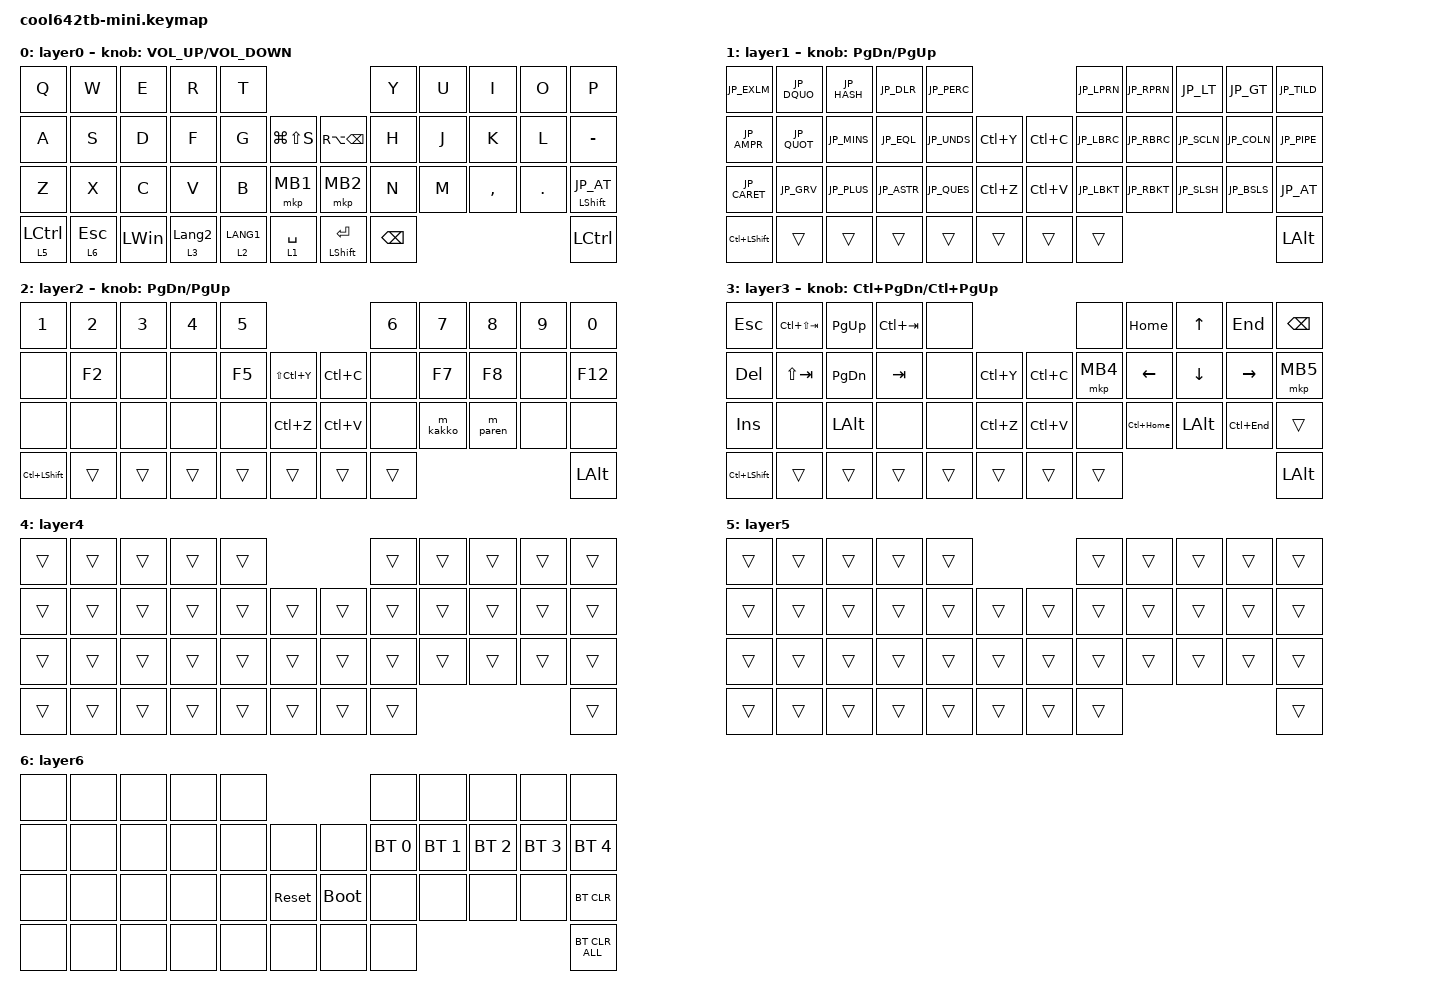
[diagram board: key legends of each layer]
#include <behaviors.dtsi>
#include <dt-bindings/zmk/bt.h>
#include <dt-bindings/zmk/keys.h>
#include <dt-bindings/zmk/pointing.h>
#include "locale/keys_ja.h"

#define MOUSE 4
#define SCROLL 5
#define NUM 6
#define ZMK_POINTING_DEFAULT_SCRL_VAL 80

&mt {
    flavor = "balanced";
    quick-tap-ms = <0>;
};

/ {
    combos {
        compatible = "zmk,combos";

        shift_tab {
            bindings = <&kp LANG2>;
            key-positions = <12 13>;
            layers = <0>;
        };

        lang {
            bindings = <&kp LANG1>;
            key-positions = <18 19>;
            layers = <0>;
        };

        printscreen {
            bindings = <&kp LG(LS(S))>;
            key-positions = <8 9>;
            layers = <0>;
        };

        ctrl+win {
            bindings = <&kp LG(LCTRL)>;
            key-positions = <20 21>;
        };

        ctrl+win+space {
            bindings = <&kp LG(LC(SPACE))>;
            key-positions = <33 32>;
        };
    };

    macros {
        m_kakko: m_kakko {
            compatible = "zmk,behavior-macro";
            #binding-cells = <0>;
            wait-ms = <30>;
            tap-ms = <30>;
            bindings = <&kp JP_LBKT &kp JP_RBKT &kp LEFT>;
        };

        m_paren: m_paren {
            compatible = "zmk,behavior-macro";
            #binding-cells = <0>;
            wait-ms = <30>;
            tap-ms = <30>;
            bindings = <&kp JP_LPRN &kp JP_RPRN &kp LEFT>;
        };
    };

    behaviors {
        encoder_msc_down_up: encoder_msc_down_up {
            compatible = "zmk,behavior-sensor-rotate";
            label = "ENCODER_MSC_DOWN_UP";
            #sensor-binding-cells = <0>;
            bindings = <&msc SCRL_UP>, <&msc SCRL_DOWN>;

            tap-ms = <20>;
        };
    };

    keymap {
        compatible = "zmk,keymap";

        layer0 {
            bindings = <
&kp Q               &kp W         &kp E         &kp R             &kp T                                              &kp Y          &kp U  &kp I      &kp O    &kp P
&kp A               &kp S         &kp D         &kp F             &kp G        &kp LG(LS(S))      &kp RA(BACKSPACE)  &kp H          &kp J  &kp K      &kp L    &kp MINUS
&kp Z               &kp X         &kp C         &kp V             &kp B        &mkp MB1           &mkp MB2           &kp N          &kp M  &kp COMMA  &kp DOT  &mt LEFT_SHIFT JP_AT
&lt 5 LEFT_CONTROL  &lt 6 ESCAPE  &kp LEFT_WIN  &lt 3 LANGUAGE_2  &lt 2 LANG1  &lt 1 SPACE        &mt LSHIFT ENTER   &kp BACKSPACE                             &kp LEFT_CONTROL
            >;

            sensor-bindings = <&inc_dec_kp C_VOLUME_UP C_VOLUME_DOWN>;
        };

        layer1 {
            bindings = <
&kp JP_EXLM         &kp JP_DQUO  &kp JP_HASH  &kp JP_DLR   &kp JP_PERC                            &kp JP_LPRN  &kp JP_RPRN  &kp JP_LT    &kp JP_GT    &kp JP_TILD
&kp JP_AMPR         &kp JP_QUOT  &kp JP_MINS  &kp JP_EQL   &kp JP_UNDS  &kp LC(Y)      &kp LC(C)  &kp JP_LBRC  &kp JP_RBRC  &kp JP_SCLN  &kp JP_COLN  &kp JP_PIPE
&kp JP_CARET        &kp JP_GRV   &kp JP_PLUS  &kp JP_ASTR  &kp JP_QUES  &kp LC(Z)      &kp LC(V)  &kp JP_LBKT  &kp JP_RBKT  &kp JP_SLSH  &kp JP_BSLS  &kp JP_AT
&kp LC(LEFT_SHIFT)  &trans       &trans       &trans       &trans       &trans         &trans     &trans                                              &kp LEFT_ALT
            >;

            sensor-bindings = <&inc_dec_kp PG_DN PAGE_UP>;
        };

        layer2 {
            bindings = <
&kp NUMBER_1        &kp NUMBER_2  &kp NUMBER_3  &kp NUMBER_4  &kp N5                                &kp NUMBER_6  &kp N7    &kp N8    &kp N9  &kp N0
&none               &kp F2        &none         &none         &kp F5  &kp LS(LC(Y))      &kp LC(C)  &none         &kp F7    &kp F8    &none   &kp F12
&none               &none         &none         &none         &none   &kp LC(Z)          &kp LC(V)  &none         &m_kakko  &m_paren  &none   &none
&kp LC(LEFT_SHIFT)  &trans        &trans        &trans        &trans  &trans             &trans     &trans                                    &kp LEFT_ALT
            >;

            sensor-bindings = <&inc_dec_kp PAGE_DOWN PAGE_UP>;
        };

        layer3 {
            bindings = <
&kp ESCAPE          &kp LC(LS(TAB))  &kp PAGE_UP    &kp LC(TAB)  &none                             &none     &kp HOME        &kp UP_ARROW    &kp END          &kp BACKSPACE
&kp DELETE          &kp LS(TAB)      &kp PAGE_DOWN  &kp TAB      &none   &kp LC(Y)      &kp LC(C)  &mkp MB4  &kp LEFT_ARROW  &kp DOWN_ARROW  &kp RIGHT_ARROW  &mkp MB5
&kp INSERT          &none            &kp LALT       &none        &none   &kp LC(Z)      &kp LC(V)  &none     &kp LC(HOME)    &kp LEFT_ALT    &kp LC(END)      &trans
&kp LC(LEFT_SHIFT)  &trans           &trans         &trans       &trans  &trans         &trans     &trans                                                     &kp LEFT_ALT
            >;

            sensor-bindings = <&inc_dec_kp LC(PAGE_DOWN) LC(PAGE_UP)>;
        };

        layer4 {
            bindings = <
&trans  &trans  &trans  &trans  &trans                      &trans  &trans  &trans  &trans  &trans
&trans  &trans  &trans  &trans  &trans  &trans      &trans  &trans  &trans  &trans  &trans  &trans
&trans  &trans  &trans  &trans  &trans  &trans      &trans  &trans  &trans  &trans  &trans  &trans
&trans  &trans  &trans  &trans  &trans  &trans      &trans  &trans                          &trans
            >;
        };

        layer5 {
            bindings = <
&trans  &trans  &trans  &trans  &trans                      &trans  &trans  &trans  &trans  &trans
&trans  &trans  &trans  &trans  &trans  &trans      &trans  &trans  &trans  &trans  &trans  &trans
&trans  &trans  &trans  &trans  &trans  &trans      &trans  &trans  &trans  &trans  &trans  &trans
&trans  &trans  &trans  &trans  &trans  &trans      &trans  &trans                          &trans
            >;
        };

        layer6 {
            bindings = <
&none  &none  &none  &none  &none                               &none         &none         &none         &none         &none
&none  &none  &none  &none  &none  &none           &none        &bt BT_SEL 0  &bt BT_SEL 1  &bt BT_SEL 2  &bt BT_SEL 3  &bt BT_SEL 4
&none  &none  &none  &none  &none  &sys_reset      &bootloader  &none         &none         &none         &none         &bt BT_CLR
&none  &none  &none  &none  &none  &none           &none        &none                                                   &bt BT_CLR_ALL
            >;
        };
    };
};
